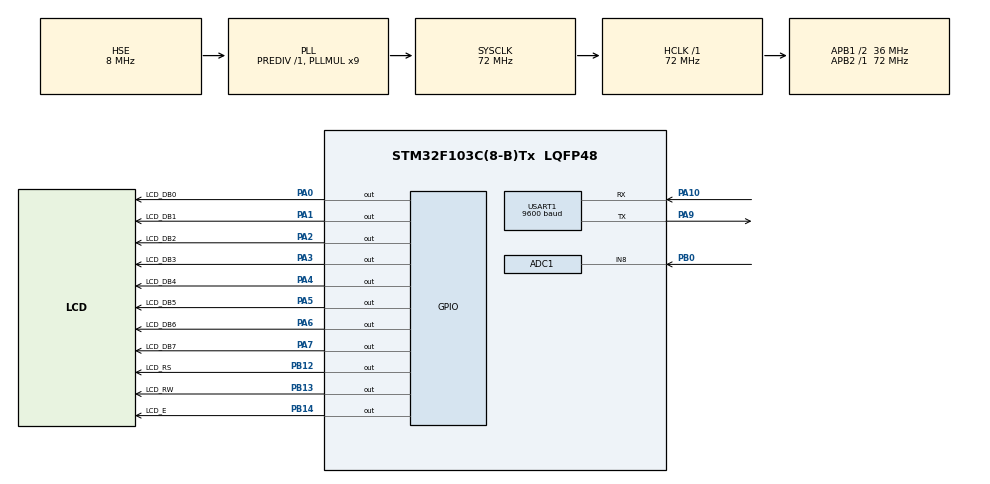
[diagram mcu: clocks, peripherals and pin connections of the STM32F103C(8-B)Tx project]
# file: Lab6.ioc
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ADC1.Channel-0\#ChannelRegularConversion=ADC_CHANNEL_8
ADC1.ContinuousConvMode=ENABLE
ADC1.NbrOfConversionFlag=1
ADC1.Rank-0\#ChannelRegularConversion=1
ADC1.SamplingTime-0\#ChannelRegularConversion=ADC_SAMPLETIME_55CYCLES_5
ADC1.master=1
Mcu.Family=STM32F1
Mcu.Name=STM32F103C(8-B)Tx
Mcu.Package=LQFP48
NVIC.PriorityGroup=NVIC_PRIORITYGROUP_4
PA0-WKUP.GPIO_Label=LCD_DB0
PA0-WKUP.GPIO_Speed=GPIO_SPEED_FREQ_MEDIUM
PA0-WKUP.Signal=GPIO_Output
PA1.GPIO_Label=LCD_DB1
PA1.GPIO_Speed=GPIO_SPEED_FREQ_MEDIUM
PA1.Signal=GPIO_Output
PA10.Mode=Asynchronous
PA10.Signal=USART1_RX
PA13.Mode=Serial_Wire
PA13.Signal=SYS_JTMS-SWDIO
PA14.Mode=Serial_Wire
PA14.Signal=SYS_JTCK-SWCLK
PA2.GPIO_Label=LCD_DB2
PA2.GPIO_Speed=GPIO_SPEED_FREQ_MEDIUM
PA2.Signal=GPIO_Output
PA3.GPIO_Label=LCD_DB3
PA3.GPIO_Speed=GPIO_SPEED_FREQ_MEDIUM
PA3.Signal=GPIO_Output
PA4.GPIO_Label=LCD_DB4
PA4.GPIO_Speed=GPIO_SPEED_FREQ_MEDIUM
PA4.Signal=GPIO_Output
PA5.GPIO_Label=LCD_DB5
PA5.GPIO_Speed=GPIO_SPEED_FREQ_MEDIUM
PA5.Signal=GPIO_Output
PA6.GPIO_Label=LCD_DB6
PA6.GPIO_Speed=GPIO_SPEED_FREQ_MEDIUM
PA6.Signal=GPIO_Output
PA7.GPIO_Label=LCD_DB7
PA7.GPIO_Speed=GPIO_SPEED_FREQ_MEDIUM
PA7.Signal=GPIO_Output
PA9.Mode=Asynchronous
PA9.Signal=USART1_TX
PB0.Signal=ADCx_IN8
PB12.GPIO_Label=LCD_RS
PB12.GPIO_Speed=GPIO_SPEED_FREQ_MEDIUM
PB12.Signal=GPIO_Output
PB13.GPIO_Label=LCD_RW
PB13.GPIO_Speed=GPIO_SPEED_FREQ_MEDIUM
PB13.Signal=GPIO_Output
PB14.GPIO_Label=LCD_E
PB14.GPIO_Speed=GPIO_SPEED_FREQ_MEDIUM
PB14.Signal=GPIO_Output
PD0-OSC_IN.Mode=HSE-External-Oscillator
PD0-OSC_IN.Signal=RCC_OSC_IN
PD1-OSC_OUT.Mode=HSE-External-Oscillator
PD1-OSC_OUT.Signal=RCC_OSC_OUT
ProjectManager.HeapSize=0x200
ProjectManager.StackSize=0x400
ProjectManager.TargetToolchain=MDK-ARM V5.32
RCC.ADCPresc=RCC_ADCPCLK2_DIV8
RCC.AHBFreq_Value=72000000
RCC.APB1CLKDivider=RCC_HCLK_DIV2
RCC.APB1Freq_Value=36000000
RCC.APB1TimFreq_Value=72000000
RCC.APB2Freq_Value=72000000
RCC.APB2TimFreq_Value=72000000
RCC.HCLKFreq_Value=72000000
RCC.PLLMUL=RCC_PLL_MUL9
RCC.PLLSourceVirtual=RCC_PLLSOURCE_HSE
RCC.SYSCLKFreq_VALUE=72000000
RCC.SYSCLKSource=RCC_SYSCLKSOURCE_PLLCLK
RCC.USBFreq_Value=72000000
SH.ADCx_IN8.0=ADC1_IN8,IN8
USART1.BaudRate=9600
USART1.VirtualMode=VM_ASYNC
board=custom

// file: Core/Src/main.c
/* USER CODE BEGIN Header */
/**
  ******************************************************************************
  * @file           : main.c
  * @brief          : Main program body
  ******************************************************************************
  * @attention
  *
  * Copyright (c) 2025 STMicroelectronics.
  * All rights reserved.
  *
  * This software is licensed under terms that can be found in the LICENSE file
  * in the root directory of this software component.
  * If no LICENSE file comes with this software, it is provided AS-IS.
  *
  ******************************************************************************
  */
/* USER CODE END Header */
#include "main.h"
#include "adc.h"
#include "usart.h"
#include "gpio.h"

/* USER CODE BEGIN Includes */
#include "LCD.h"
#include <stdio.h>
#include <string.h>
/* USER CODE END Includes */

void SystemClock_Config(void);

int main(void)
{

  /* MCU Configuration--------------------------------------------------------*/

  /* Reset of all peripherals, Initializes the Flash interface and the Systick. */
  HAL_Init();

  /* Configure the system clock */
  SystemClock_Config();

  /* Initialize all configured peripherals */
  MX_GPIO_Init();
  MX_ADC1_Init();
  MX_USART1_UART_Init();
  /* USER CODE BEGIN 2 */
	LCD_init();
	LCD_Clear();
	HAL_ADCEx_Calibration_Start(&hadc1);
	HAL_ADC_Start(&hadc1);
  /* USER CODE END 2 */

  /* Infinite loop */
  /* USER CODE BEGIN WHILE */
  while (1)
  {
		uint8_t cmd;
		char message[32];
		if (HAL_ADC_PollForConversion(&hadc1, 10) == HAL_OK)
    {
			uint16_t adc_val = HAL_ADC_GetValue(&hadc1);
			uint16_t voltage_mv = (adc_val * 330) / 4095;
			uint16_t int_part = voltage_mv / 100;
      uint16_t frac_part = voltage_mv % 100;

			sprintf(message, "V=%d.%02d V", int_part, frac_part);
      LCD_Display_String(0, 0, (uint8_t*)message);

			if (HAL_UART_Receive(&huart1, &cmd, 1, 10) == HAL_OK) {

				if (cmd == 'A') {
					sprintf(message, "Voltage:%d.%02d V\r\n", int_part, frac_part);
					HAL_UART_Transmit(&huart1, (uint8_t*)message, strlen(message), HAL_MAX_DELAY);
				}
				else if (cmd == 'B') {
					sprintf(message, "ADC Value:%d\r\n", adc_val);
					HAL_UART_Transmit(&huart1, (uint8_t*)message, strlen(message), HAL_MAX_DELAY);
				}
				else {
					char* warning = "Send Correct Order, Please!\r\n";
					HAL_UART_Transmit(&huart1, (uint8_t*)warning, strlen(warning), HAL_MAX_DELAY);
				}

			}
    }
    /* USER CODE END WHILE */

  }
}

void SystemClock_Config(void)
{
  RCC_OscInitTypeDef RCC_OscInitStruct = {0};
  RCC_ClkInitTypeDef RCC_ClkInitStruct = {0};
  RCC_PeriphCLKInitTypeDef PeriphClkInit = {0};

  /** Initializes the RCC Oscillators according to the specified parameters
  * in the RCC_OscInitTypeDef structure.
  */
  RCC_OscInitStruct.OscillatorType = RCC_OSCILLATORTYPE_HSE;
  RCC_OscInitStruct.HSEState = RCC_HSE_ON;
  RCC_OscInitStruct.HSEPredivValue = RCC_HSE_PREDIV_DIV1;
  RCC_OscInitStruct.HSIState = RCC_HSI_ON;
  RCC_OscInitStruct.PLL.PLLState = RCC_PLL_ON;
  RCC_OscInitStruct.PLL.PLLSource = RCC_PLLSOURCE_HSE;
  RCC_OscInitStruct.PLL.PLLMUL = RCC_PLL_MUL9;
  if (HAL_RCC_OscConfig(&RCC_OscInitStruct) != HAL_OK)
  {
    Error_Handler();
  }

  /** Initializes the CPU, AHB and APB buses clocks
  */
  RCC_ClkInitStruct.ClockType = RCC_CLOCKTYPE_HCLK|RCC_CLOCKTYPE_SYSCLK
                              |RCC_CLOCKTYPE_PCLK1|RCC_CLOCKTYPE_PCLK2;
  RCC_ClkInitStruct.SYSCLKSource = RCC_SYSCLKSOURCE_PLLCLK;
  RCC_ClkInitStruct.AHBCLKDivider = RCC_SYSCLK_DIV1;
  RCC_ClkInitStruct.APB1CLKDivider = RCC_HCLK_DIV2;
  RCC_ClkInitStruct.APB2CLKDivider = RCC_HCLK_DIV1;

  if (HAL_RCC_ClockConfig(&RCC_ClkInitStruct, FLASH_LATENCY_2) != HAL_OK)
  {
    Error_Handler();
  }
  PeriphClkInit.PeriphClockSelection = RCC_PERIPHCLK_ADC;
  PeriphClkInit.AdcClockSelection = RCC_ADCPCLK2_DIV8;
  if (HAL_RCCEx_PeriphCLKConfig(&PeriphClkInit) != HAL_OK)
  {
    Error_Handler();
  }
}

void Error_Handler(void)
{
  __disable_irq();
  while (1)
  {
  }
}
